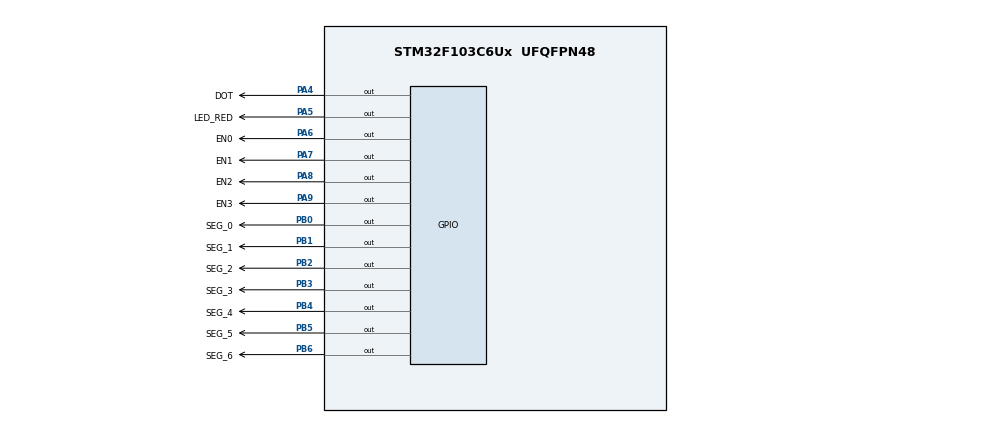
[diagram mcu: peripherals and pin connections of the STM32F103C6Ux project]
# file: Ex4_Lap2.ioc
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Mcu.Family=STM32F1
Mcu.Name=STM32F103C6Ux
Mcu.Package=UFQFPN48
NVIC.PriorityGroup=NVIC_PRIORITYGROUP_4
NVIC.TIM2_IRQn=true\:0\:0\:false\:false\:true\:true\:true
PA4.GPIO_Label=DOT
PA4.Signal=GPIO_Output
PA5.GPIO_Label=LED_RED
PA5.Signal=GPIO_Output
PA6.GPIO_Label=EN0
PA6.Signal=GPIO_Output
PA7.GPIO_Label=EN1
PA7.Signal=GPIO_Output
PA8.GPIO_Label=EN2
PA8.Signal=GPIO_Output
PA9.GPIO_Label=EN3
PA9.Signal=GPIO_Output
PB0.GPIO_Label=SEG_0
PB0.Signal=GPIO_Output
PB1.GPIO_Label=SEG_1
PB1.Signal=GPIO_Output
PB2.GPIO_Label=SEG_2
PB2.Signal=GPIO_Output
PB3.GPIO_Label=SEG_3
PB3.Signal=GPIO_Output
PB4.GPIO_Label=SEG_4
PB4.Signal=GPIO_Output
PB5.GPIO_Label=SEG_5
PB5.Signal=GPIO_Output
PB6.GPIO_Label=SEG_6
PB6.Signal=GPIO_Output
ProjectManager.HeapSize=0x200
ProjectManager.StackSize=0x400
ProjectManager.TargetToolchain=STM32CubeIDE
RCC.APB1Freq_Value=8000000
RCC.APB2Freq_Value=8000000
TIM2.Period=9
TIM2.Prescaler=7999
VP_SYS_VS_ND.Mode=No_Debug
VP_TIM2_VS_ClockSourceINT.Mode=Internal
board=custom

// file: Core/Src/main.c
/* USER CODE BEGIN Header */
/**
  ******************************************************************************
  * @file           : main.c
  * @brief          : Main program body
  ******************************************************************************
  * @attention
  *
  * <h2><center>&copy; Copyright (c) 2022 STMicroelectronics.
  * All rights reserved.</center></h2>
  *
  * This software component is licensed by ST under BSD 3-Clause license,
  * the "License"; You may not use this file except in compliance with the
  * License. You may obtain a copy of the License at:
  *                        opensource.org/licenses/BSD-3-Clause
  *
  ******************************************************************************
  */
/* USER CODE END Header */
#include "main.h"

TIM_HandleTypeDef htim2;

void SystemClock_Config(void);
static void MX_GPIO_Init(void);
static void MX_TIM2_Init(void);

int NUM[10][7]= {
	{0,0,0,0,0,0,1}, //0
	{1,0,0,1,1,1,1}, //1
	{0,0,1,0,0,1,0}, //2
	{0,0,0,0,1,1,0}, //3
	{1,0,0,1,1,0,0}, //4
	{0,1,0,0,1,0,0}, //5
	{0,1,0,0,0,0,0}, //6
	{0,0,0,1,1,1,1}, //7
	{0,0,0,0,0,0,0}, //8
	{0,0,0,0,1,0,0}  //9
};
void display7SEG(int num){
	HAL_GPIO_WritePin(SEG_0_GPIO_Port, SEG_0_Pin, NUM[num][0] );// tin hieu thanh 0
	HAL_GPIO_WritePin(SEG_1_GPIO_Port, SEG_1_Pin, NUM[num][1] );// tin hieu thanh 1
	HAL_GPIO_WritePin(SEG_2_GPIO_Port, SEG_2_Pin, NUM[num][2] );// tin hieu thanh 2
	HAL_GPIO_WritePin(SEG_3_GPIO_Port, SEG_3_Pin, NUM[num][3] );// tin hieu thanh 3
	HAL_GPIO_WritePin(SEG_4_GPIO_Port, SEG_4_Pin, NUM[num][4] );// tin hieu thanh 4
	HAL_GPIO_WritePin(SEG_5_GPIO_Port, SEG_5_Pin, NUM[num][5] );// tin hieu thanh 5
	HAL_GPIO_WritePin(SEG_6_GPIO_Port, SEG_6_Pin, NUM[num][6] );// tin hieu thanh 6
}
int main(void)
{

  /* MCU Configuration--------------------------------------------------------*/

  /* Reset of all peripherals, Initializes the Flash interface and the Systick. */
  HAL_Init();

  /* Configure the system clock */
  SystemClock_Config();

  /* Initialize all configured peripherals */
  MX_GPIO_Init();
  MX_TIM2_Init();
  HAL_TIM_Base_Start_IT (& htim2 ) ;

  /* Infinite loop */
  while (1)
  {
		HAL_TIM_Base_Start_IT (& htim2 ) ;

  }
}

void SystemClock_Config(void)
{
  RCC_OscInitTypeDef RCC_OscInitStruct = {0};
  RCC_ClkInitTypeDef RCC_ClkInitStruct = {0};

  /** Initializes the RCC Oscillators according to the specified parameters
  * in the RCC_OscInitTypeDef structure.
  */
  RCC_OscInitStruct.OscillatorType = RCC_OSCILLATORTYPE_HSI;
  RCC_OscInitStruct.HSIState = RCC_HSI_ON;
  RCC_OscInitStruct.HSICalibrationValue = RCC_HSICALIBRATION_DEFAULT;
  RCC_OscInitStruct.PLL.PLLState = RCC_PLL_NONE;
  if (HAL_RCC_OscConfig(&RCC_OscInitStruct) != HAL_OK)
  {
    Error_Handler();
  }
  /** Initializes the CPU, AHB and APB buses clocks
  */
  RCC_ClkInitStruct.ClockType = RCC_CLOCKTYPE_HCLK|RCC_CLOCKTYPE_SYSCLK
                              |RCC_CLOCKTYPE_PCLK1|RCC_CLOCKTYPE_PCLK2;
  RCC_ClkInitStruct.SYSCLKSource = RCC_SYSCLKSOURCE_HSI;
  RCC_ClkInitStruct.AHBCLKDivider = RCC_SYSCLK_DIV1;
  RCC_ClkInitStruct.APB1CLKDivider = RCC_HCLK_DIV1;
  RCC_ClkInitStruct.APB2CLKDivider = RCC_HCLK_DIV1;

  if (HAL_RCC_ClockConfig(&RCC_ClkInitStruct, FLASH_LATENCY_0) != HAL_OK)
  {
    Error_Handler();
  }
}

static void MX_TIM2_Init(void)
{

  TIM_ClockConfigTypeDef sClockSourceConfig = {0};
  TIM_MasterConfigTypeDef sMasterConfig = {0};

  htim2.Instance = TIM2;
  htim2.Init.Prescaler = 7999;
  htim2.Init.CounterMode = TIM_COUNTERMODE_UP;
  htim2.Init.Period = 9;
  htim2.Init.ClockDivision = TIM_CLOCKDIVISION_DIV1;
  htim2.Init.AutoReloadPreload = TIM_AUTORELOAD_PRELOAD_DISABLE;
  if (HAL_TIM_Base_Init(&htim2) != HAL_OK)
  {
    Error_Handler();
  }
  sClockSourceConfig.ClockSource = TIM_CLOCKSOURCE_INTERNAL;
  if (HAL_TIM_ConfigClockSource(&htim2, &sClockSourceConfig) != HAL_OK)
  {
    Error_Handler();
  }
  sMasterConfig.MasterOutputTrigger = TIM_TRGO_RESET;
  sMasterConfig.MasterSlaveMode = TIM_MASTERSLAVEMODE_DISABLE;
  if (HAL_TIMEx_MasterConfigSynchronization(&htim2, &sMasterConfig) != HAL_OK)
  {
    Error_Handler();
  }

}

static void MX_GPIO_Init(void)
{
  GPIO_InitTypeDef GPIO_InitStruct = {0};

  /* GPIO Ports Clock Enable */
  __HAL_RCC_GPIOA_CLK_ENABLE();
  __HAL_RCC_GPIOB_CLK_ENABLE();

  /*Configure GPIO pin Output Level */
  HAL_GPIO_WritePin(GPIOA, DOT_Pin|LED_RED_Pin|EN0_Pin|EN1_Pin
                          |EN2_Pin|EN3_Pin, GPIO_PIN_RESET);

  /*Configure GPIO pin Output Level */
  HAL_GPIO_WritePin(GPIOB, SEG_0_Pin|SEG_1_Pin|SEG_2_Pin|SEG_3_Pin
                          |SEG_4_Pin|SEG_5_Pin|SEG_6_Pin, GPIO_PIN_RESET);

  /*Configure GPIO pins : DOT_Pin LED_RED_Pin EN0_Pin EN1_Pin
                           EN2_Pin EN3_Pin */
  GPIO_InitStruct.Pin = DOT_Pin|LED_RED_Pin|EN0_Pin|EN1_Pin
                          |EN2_Pin|EN3_Pin;
  GPIO_InitStruct.Mode = GPIO_MODE_OUTPUT_PP;
  GPIO_InitStruct.Pull = GPIO_NOPULL;
  GPIO_InitStruct.Speed = GPIO_SPEED_FREQ_LOW;
  HAL_GPIO_Init(GPIOA, &GPIO_InitStruct);

  /*Configure GPIO pins : SEG_0_Pin SEG_1_Pin SEG_2_Pin SEG_3_Pin
                           SEG_4_Pin SEG_5_Pin SEG_6_Pin */
  GPIO_InitStruct.Pin = SEG_0_Pin|SEG_1_Pin|SEG_2_Pin|SEG_3_Pin
                          |SEG_4_Pin|SEG_5_Pin|SEG_6_Pin;
  GPIO_InitStruct.Mode = GPIO_MODE_OUTPUT_PP;
  GPIO_InitStruct.Pull = GPIO_NOPULL;
  GPIO_InitStruct.Speed = GPIO_SPEED_FREQ_LOW;
  HAL_GPIO_Init(GPIOB, &GPIO_InitStruct);

}

/* USER CODE BEGIN 4 */
int counter = 25;
int count= 1;
int led_status= 0;
void HAL_TIM_PeriodElapsedCallback ( TIM_HandleTypeDef * htim ){
	counter--;
	if(counter<=0){
		counter= 25;
		if(led_status== 0){
			HAL_GPIO_WritePin(EN0_GPIO_Port, EN0_Pin, RESET);
			HAL_GPIO_WritePin(EN1_GPIO_Port, EN1_Pin, SET);
			HAL_GPIO_WritePin(EN2_GPIO_Port, EN2_Pin, SET);
			HAL_GPIO_WritePin(EN3_GPIO_Port, EN3_Pin, SET);
			display7SEG(count);
		}
		else if(led_status== 1){
			HAL_GPIO_WritePin(EN0_GPIO_Port, EN0_Pin, SET);
			HAL_GPIO_WritePin(EN1_GPIO_Port, EN1_Pin, RESET);
			HAL_GPIO_WritePin(EN2_GPIO_Port, EN2_Pin, SET);
			HAL_GPIO_WritePin(EN3_GPIO_Port, EN3_Pin, SET);
			display7SEG(count);
		}
		else if(led_status== 2){
			HAL_GPIO_WritePin(EN0_GPIO_Port, EN0_Pin, SET);
			HAL_GPIO_WritePin(EN1_GPIO_Port, EN1_Pin, SET);
			HAL_GPIO_WritePin(EN2_GPIO_Port, EN2_Pin, RESET);
			HAL_GPIO_WritePin(EN3_GPIO_Port, EN3_Pin, SET);
			display7SEG(count);
		}
		else if(led_status== 3){
			HAL_GPIO_WritePin(EN0_GPIO_Port, EN0_Pin, SET);
			HAL_GPIO_WritePin(EN1_GPIO_Port, EN1_Pin, SET);
			HAL_GPIO_WritePin(EN2_GPIO_Port, EN2_Pin, SET);
			HAL_GPIO_WritePin(EN3_GPIO_Port, EN3_Pin, RESET);
			display7SEG(count);
		}
		if(count==2){
			HAL_GPIO_WritePin(DOT_GPIO_Port, DOT_Pin, RESET);
		}
		else{
			HAL_GPIO_WritePin(DOT_GPIO_Port, DOT_Pin, SET);
		}
		count++;
		led_status++;
		if(led_status>3){led_status=0;}
		if(count>3){count= 0;}
	}
}
/* USER CODE END 4 */

void Error_Handler(void)
{
  __disable_irq();
  while (1)
  {
  }
}

/************************ (C) COPYRIGHT STMicroelectronics *****END OF FILE****/
